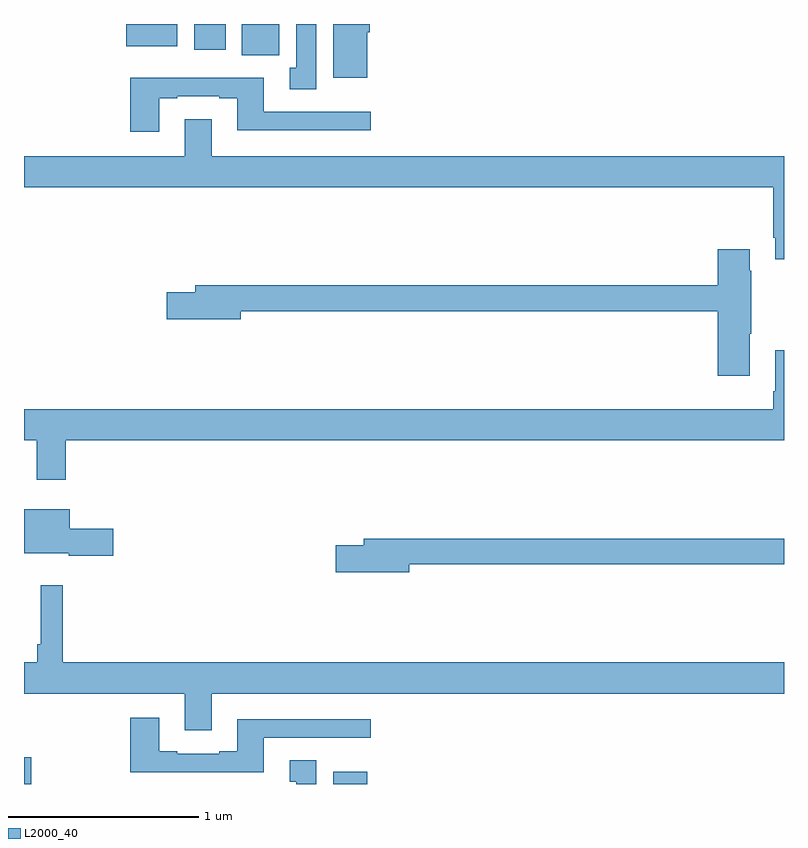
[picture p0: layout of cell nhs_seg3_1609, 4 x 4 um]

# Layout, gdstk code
import gdstk
lib = gdstk.Library(unit=1e-6, precision=1e-09)
def R(c, l, rs):  # rectangles x0, y0, x1, y1
    for r in rs: c.add(gdstk.rectangle(r[:2], r[2:], *l))
def P(c, l, *ps):  # polygons
    for p in ps: c.add(gdstk.Polygon(p, *l))
L2000_40 = (2000, 40)

nhs_seg3_1609 = lib.new_cell('nhs_seg3_1609')
R(nhs_seg3_1609, L2000_40, [(193,740.4,193.039,740.541), (194.627,740.4,194.806,740.464), (194.147,744.236,194.344,744.4), (193.895,744.264,194.062,744.4), (193.538,744.284,193.807,744.4)])
P(nhs_seg3_1609, L2000_40, [(194.539,744.4),(194.432,744.4),(194.432,744.17),(194.399,744.17),(194.399,744.057),(194.539,744.057)],
  [(194.806,744.356),(194.819,744.356),(194.819,744.4),(194.627,744.4),(194.627,744.116),(194.806,744.116)],
  [(193.711,744.009),(193.807,744.009),(193.807,744.021),(194.027,744.021),(194.027,744.009),(194.123,744.009),(194.123,743.84),(194.824,743.84),(194.824,743.937),(194.263,743.937),(194.263,744.118),(193.559,744.118),(193.559,743.832),(193.711,743.832)],
  [(193.987,743.899),(193.847,743.899),(193.847,743.704),(193,743.704),(193,743.54),(196.943,743.54),(196.943,743.275),(196.955,743.275),(196.955,743.163),(197,743.163),(197,743.704),(193.987,743.704)],
  [(196.819,742.771),(196.827,742.771),(196.827,743.102),(196.819,743.102),(196.819,743.215),(196.652,743.215),(196.652,743.024),(193.901,743.024),(193.901,742.988),(193.752,742.988),(193.752,742.846),(194.14,742.846),(194.14,742.888),(196.652,742.888),(196.652,742.548),(196.819,742.548)],
  [(193.22,742.208),(197,742.208),(197,742.684),(196.955,742.684),(196.955,742.468),(196.943,742.468),(196.943,742.372),(193,742.372),(193,742.208),(193.067,742.208),(193.067,742.002),(193.22,742.002)],
  [(193.471,741.744),(193.24,741.744),(193.24,741.847),(193,741.847),(193,741.614),(193.236,741.614),(193.236,741.602),(193.471,741.602)],
  [(195.028,741.556),(197,741.556),(197,741.692),(194.789,741.692),(194.789,741.656),(194.64,741.656),(194.64,741.514),(195.028,741.514)],
  [(193.987,740.876),(197,740.876),(197,741.04),(193.205,741.04),(193.205,741.445),(193.087,741.445),(193.087,741.136),(193.069,741.136),(193.069,741.04),(193,741.04),(193,740.876),(193.847,740.876),(193.847,740.682),(193.987,740.682)],
  [(194.263,740.643),(194.824,740.643),(194.824,740.74),(194.123,740.74),(194.123,740.572),(194.027,740.572),(194.027,740.559),(193.807,740.559),(193.807,740.572),(193.711,740.572),(193.711,740.749),(193.559,740.749),(193.559,740.462),(194.263,740.462)],
  [(194.539,740.524),(194.399,740.524),(194.399,740.411),(194.432,740.411),(194.432,740.4),(194.539,740.4)])

lib.write_gds('nhs_seg3_1609.gds')
